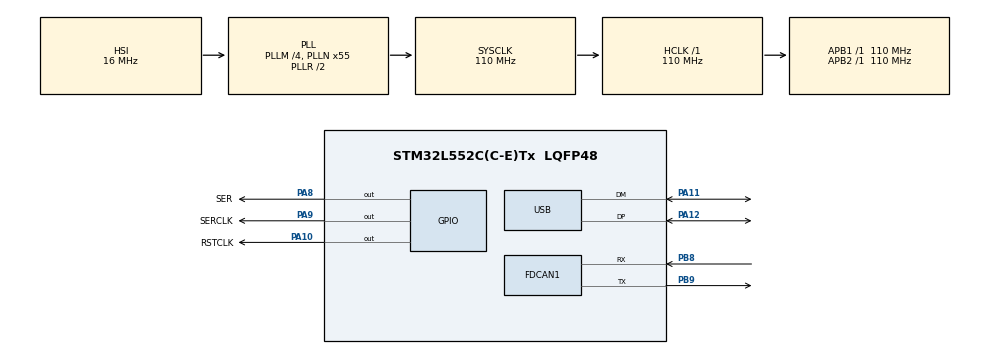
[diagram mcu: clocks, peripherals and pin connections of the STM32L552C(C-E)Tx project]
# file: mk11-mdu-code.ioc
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FDCAN1.AutoRetransmission=ENABLE
FDCAN1.CalculateBaudRateNominal=999999
FDCAN1.CalculateTimeBitNominal=1000
FDCAN1.CalculateTimeQuantumNominal=45.45454545454546
FDCAN1.DataPrescaler=2
FDCAN1.DataSyncJumpWidth=2
FDCAN1.DataTimeSeg1=8
FDCAN1.DataTimeSeg2=2
FDCAN1.FrameFormat=FDCAN_FRAME_FD_BRS
FDCAN1.Mode=FDCAN_MODE_NORMAL
FDCAN1.NominalPrescaler=5
FDCAN1.NominalSyncJumpWidth=4
FDCAN1.NominalTimeSeg1=17
FDCAN1.NominalTimeSeg2=4
FDCAN1.StdFiltersNbr=1
Mcu.Family=STM32L5
Mcu.Name=STM32L552C(C-E)Tx
Mcu.Package=LQFP48
NVIC.FDCAN1_IT0_IRQn=true\:0\:0\:false\:false\:true\:true\:true\:true
NVIC.FDCAN1_IT1_IRQn=true\:0\:0\:false\:false\:true\:true\:true\:true
NVIC.PriorityGroup=NVIC_PRIORITYGROUP_3
NVIC.USB_FS_IRQn=true\:0\:0\:false\:false\:true\:false\:true\:true
PA10.GPIO_Label=RSTCLK
PA10.Signal=GPIO_Output
PA11.Mode=Device
PA11.Signal=USB_DM
PA12.Mode=Device
PA12.Signal=USB_DP
PA8.GPIO_Label=SER
PA8.Signal=GPIO_Output
PA9.GPIO_Label=SERCLK
PA9.Signal=GPIO_Output
PB8.Mode=FDCAN_Activate
PB8.Signal=FDCAN1_RX
PB9.Mode=FDCAN_Activate
PB9.Signal=FDCAN1_TX
PC14-OSC32_IN\ (PC14).Mode=LSE-External-Oscillator
PC14-OSC32_IN\ (PC14).Signal=RCC_OSC32_IN
PC15-OSC32_OUT\ (PC15).Mode=LSE-External-Oscillator
PC15-OSC32_OUT\ (PC15).Signal=RCC_OSC32_OUT
PH0-OSC_IN\ (PH0).Mode=HSE-External-Oscillator
PH0-OSC_IN\ (PH0).Signal=RCC_OSC_IN
PH1-OSC_OUT\ (PH1).Mode=HSE-External-Oscillator
PH1-OSC_OUT\ (PH1).Signal=RCC_OSC_OUT
ProjectManager.HeapSize=0x200
ProjectManager.StackSize=0x400
ProjectManager.TargetToolchain=STM32CubeIDE
RCC.ADCFreq_Value=48000000
RCC.AHBFreq_Value=110000000
RCC.APB1Freq_Value=110000000
RCC.APB1TimFreq_Value=110000000
RCC.APB2Freq_Value=110000000
RCC.APB2TimFreq_Value=110000000
RCC.CortexFreq_Value=110000000
RCC.HCLKFreq_Value=110000000
RCC.HSE_VALUE=16000000
RCC.HSI48_VALUE=48000000
RCC.HSI_VALUE=16000000
RCC.MSI_VALUE=4000000
RCC.PLLM=4
RCC.PLLN=55
RCC.PLLSAI1N=24
RCC.PLLSourceVirtual=RCC_PLLSOURCE_HSI
RCC.SYSCLKFreq_VALUE=110000000
RCC.SYSCLKSource=RCC_SYSCLKSOURCE_PLLCLK
RCC.USBFreq_Value=48000000
RCC.VCOOutputFreq_Value=220000000
USB_DEVICE.CLASS_NAME_FS=CDC
USB_DEVICE.VirtualMode=Cdc
USB_DEVICE.VirtualModeFS=Cdc_FS
VP_ICACHE_VS_ICACHE.Mode=DefaultMode
VP_PWR_VS_DBSignals.Mode=DisableDeadBatterySignals
VP_PWR_VS_SECSignals.Mode=Security/Privilege
VP_USB_DEVICE_VS_USB_DEVICE_CDC_FS.Mode=CDC_FS
board=custom
PB8.GPIO_Speed=GPIO_SPEED_FREQ_VERY_HIGH
PB9.GPIO_Speed=GPIO_SPEED_FREQ_VERY_HIGH

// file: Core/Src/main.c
/* USER CODE BEGIN Header */
/**
 ******************************************************************************
 * @file           : main.c
 * @brief          : Main program body
 ******************************************************************************
 * @attention
 *
 * Copyright (c) 2026 STMicroelectronics.
 * All rights reserved.
 *
 * This software is licensed under terms that can be found in the LICENSE file
 * in the root directory of this software component.
 * If no LICENSE file comes with this software, it is provided AS-IS.
 *
 ******************************************************************************
 */
/* USER CODE END Header */
#include "main.h"
#include "fdcan.h"
#include "icache.h"
#include "usb_device.h"
#include "gpio.h"

/* USER CODE BEGIN Includes */
#include "../../Drivers/BFR_Krill_Drivers/Inc/usb_driver.h"
#include "usbd_conf.h"
#include "usbd_cdc_if.h"
#include "can.h"
#include <stdio.h>
#include <string.h>
/* USER CODE END Includes */

/* USER CODE BEGIN PD */
#define FDCAN_SELF_TEST_MODE 0U

/* USER CODE END PD */

/* USER CODE BEGIN PV */
static FDCAN_TxHeaderTypeDef Tx_header;
uint8_t Tx[64];
uint8_t Rx[64];

/* Live-expression probes. USB probes live under usbdiag. */
volatile uint32_t fdcan_rx_msg_count = 0U;
volatile uint32_t fdcan_tx_msg_count = 0U;
volatile uint32_t fdcan_tx_err_count = 0U;
volatile uint32_t fdcan_rx_err_count = 0U;
volatile uint32_t fdcan_notif_err_count = 0U;
volatile uint32_t fdcan_rx_last_id     = 0U;
volatile uint8_t  fdcan_rx_last_len    = 0U;
volatile uint8_t  fdcan_rx_pending     = 0U;

/* TEST CODE ONLY: Variables for FDCAN limits and sequence gap drop tracking.
   (Not part of standard MDU operational functionality) */
volatile uint32_t fdcan_seq_skip_count    = 0U; // Total dropped/skipped frames detected
volatile uint8_t  fdcan_expected_seq      = 0U; // Expected next sequence counter byte
volatile uint8_t  fdcan_first_seq_seen    = 0U; // Flag to initialize the sequence check

extern USBD_HandleTypeDef hUsbDeviceFS;
//
// #define FDCAN_RX_QUEUE_SIZE 16
typedef struct
{
  FDCAN_RxHeaderTypeDef header;
  uint8_t data[64];
} FDCAN_RxFrame_t;

static FDCAN_RxFrame_t fdcan_rx_queue[FDCAN_RX_QUEUE_SIZE];
static volatile uint8_t fdcan_rx_head = 0;
static volatile uint8_t fdcan_rx_tail = 0;

#define USB_TX_RING_SIZE 4096
static uint8_t usb_tx_ring[USB_TX_RING_SIZE];
static volatile uint16_t usb_tx_head = 0;
static volatile uint16_t usb_tx_tail = 0;
/* USER CODE END PV */

void SystemClock_Config(void);

/* USER CODE BEGIN 0 */
static uint8_t FDCAN_DlcToBytes(uint32_t dlc)
{
  switch (dlc)
  {
  case FDCAN_DLC_BYTES_0:
    return 0U;
  case FDCAN_DLC_BYTES_1:
    return 1U;
  case FDCAN_DLC_BYTES_2:
    return 2U;
  case FDCAN_DLC_BYTES_3:
    return 3U;
  case FDCAN_DLC_BYTES_4:
    return 4U;
  case FDCAN_DLC_BYTES_5:
    return 5U;
  case FDCAN_DLC_BYTES_6:
    return 6U;
  case FDCAN_DLC_BYTES_7:
    return 7U;
  case FDCAN_DLC_BYTES_8:
    return 8U;
  case FDCAN_DLC_BYTES_12:
    return 12U;
  case FDCAN_DLC_BYTES_16:
    return 16U;
  case FDCAN_DLC_BYTES_20:
    return 20U;
  case FDCAN_DLC_BYTES_24:
    return 24U;
  case FDCAN_DLC_BYTES_32:
    return 32U;
  case FDCAN_DLC_BYTES_48:
    return 48U;
  case FDCAN_DLC_BYTES_64:
    return 64U;
  default:
    return 0U;
  }
}

static void usb_ring_push(const char *str, uint16_t len)
{
  uint16_t head = usb_tx_head;
  uint16_t tail = usb_tx_tail;

  // Calculate free space in ring buffer
  uint16_t free_space;
  if (head <= tail)
  {
    free_space = USB_TX_RING_SIZE - 1 - (tail - head);
  }
  else
  {
    free_space = head - tail - 1;
  }

  if (len > free_space)
  {
    usbdiag.tx_drop_count++;
    return;
  }

  for (uint16_t i = 0; i < len; i++)
  {
    usb_tx_ring[tail] = (uint8_t)str[i];
    tail = (tail + 1) % USB_TX_RING_SIZE;
  }

  usb_tx_tail = tail;
}

/* report shift-register pin test result once over USB CDC when configured */
volatile uint8_t sr_test_reported = 0;

/* 74HC595 shift-register driver (MSB-first) and simple LED API */
#define BAUD_UNKNOWN 0U
#define BAUD_500K 1U
#define BAUD_5M 2U
#define BAUD_1M 3U

volatile uint8_t g_detected_baud = BAUD_UNKNOWN;
/* Result bits: bit0=SER, bit1=SERCLK, bit2=RSTCLK (set if high when written) */
volatile uint8_t sr_pin_test_result = 0;

static void ShiftRegister_WriteByte(uint8_t data)
{
  for (int8_t i = 7; i >= 0; --i)
  {
    HAL_GPIO_WritePin(SER_GPIO_Port, SER_Pin, (data & (1U << i)) ? GPIO_PIN_SET : GPIO_PIN_RESET);
    HAL_GPIO_WritePin(SERCLK_GPIO_Port, SERCLK_Pin, GPIO_PIN_SET);
    __NOP();
    __NOP();
    HAL_GPIO_WritePin(SERCLK_GPIO_Port, SERCLK_Pin, GPIO_PIN_RESET);
  }

  /* Latch (RCLK) */
  HAL_GPIO_WritePin(RSTCLK_GPIO_Port, RSTCLK_Pin, GPIO_PIN_SET);
  __NOP();
  HAL_GPIO_WritePin(RSTCLK_GPIO_Port, RSTCLK_Pin, GPIO_PIN_RESET);
}

static void Update_BaudStatus_LEDs(uint8_t detected)
{
  uint8_t mask = 0x03U; /* default: both on = unknown */
  if (detected == BAUD_500K)
    mask = 0x01U;
  else if (detected == BAUD_1M)
    mask = 0x01U; /* same single-LED pattern as 500k */
  else if (detected == BAUD_5M)
    mask = 0x02U;
  ShiftRegister_WriteByte(mask);
}

/* Start directly in Normal mode without autodetect loop
 * Returns 0 on successful start, -1 on failure.
 */
static int FDCAN_AutodetectAndStart(void)
{
  /* Bypass autodetect: Start immediately in Normal mode with default configuration */
  if (FDCAN_ApplyInitAndStart(&hfdcan1.Init, FDCAN_MODE_NORMAL) == HAL_OK)
  {
    g_detected_baud = BAUD_5M;
    Update_BaudStatus_LEDs(g_detected_baud);
    if (HAL_FDCAN_ActivateNotification(&hfdcan1, FDCAN_IT_RX_FIFO0_NEW_MESSAGE, 0) == HAL_OK)
    {
      return 0;
    }
  }

  g_detected_baud = BAUD_UNKNOWN;
  Update_BaudStatus_LEDs(g_detected_baud);
  return -1;
}

/* Quick pin self-test: write each pin high and read back input state. Sets
 * bits in `sr_pin_test_result` so user can inspect via debugger/usbdiag.
 */
static void ShiftRegister_PinSelfTest(void)
{
  sr_pin_test_result = 0;

  /* Test SER */
  HAL_GPIO_WritePin(SER_GPIO_Port, SER_Pin, GPIO_PIN_SET);
  HAL_Delay(1);
  if (HAL_GPIO_ReadPin(SER_GPIO_Port, SER_Pin) == GPIO_PIN_SET)
    sr_pin_test_result |= 0x01U;
  HAL_GPIO_WritePin(SER_GPIO_Port, SER_Pin, GPIO_PIN_RESET);

  /* Test SERCLK */
  HAL_GPIO_WritePin(SERCLK_GPIO_Port, SERCLK_Pin, GPIO_PIN_SET);
  HAL_Delay(1);
  if (HAL_GPIO_ReadPin(SERCLK_GPIO_Port, SERCLK_Pin) == GPIO_PIN_SET)
    sr_pin_test_result |= 0x02U;
  HAL_GPIO_WritePin(SERCLK_GPIO_Port, SERCLK_Pin, GPIO_PIN_RESET);

  /* Test RSTCLK */
  HAL_GPIO_WritePin(RSTCLK_GPIO_Port, RSTCLK_Pin, GPIO_PIN_SET);
  HAL_Delay(1);
  if (HAL_GPIO_ReadPin(RSTCLK_GPIO_Port, RSTCLK_Pin) == GPIO_PIN_SET)
    sr_pin_test_result |= 0x04U;
  HAL_GPIO_WritePin(RSTCLK_GPIO_Port, RSTCLK_Pin, GPIO_PIN_RESET);

  /* Try writing a visible pattern (0x03 = both LEDs on) */
  ShiftRegister_WriteByte(0x03U);
}

// static void CAN_Frame_To_USB(const FDCAN_RxHeaderTypeDef *hdr, const uint8_t *data)
//{
//   char buf[512];
//   int n = 0;
//
//   if (!USB_Driver_IsConfigured()) {
//     return;
//   }
//
//   uint8_t len = FDCAN_DlcToBytes(hdr->DataLength);
//   if (len > 64) {
//     len = 64;
//   }
//
//   uint32_t id = hdr->Identifier;
//   uint32_t base = id & 0xF00U;
//   uint32_t middle = id & 0x0F0U;
//   uint32_t board = id & 0x00FU;
//   const uint32_t MAX_BOARD_ID = 1U;
//
//   if ((base == 0x100U || base == 0x200U) && board <= MAX_BOARD_ID && len >= 64) {
//     if (middle == 0x00U) {
//       // Legacy format fallback parsing
//       uint16_t time_ms = data[0] | (data[1] << 8);
//       int16_t vals[15];
//       for (int i = 0; i < 15; i++) {
//         vals[i] = (int16_t)(data[2 + i*4] | (data[3 + i*4] << 8));
//       }
//
//       int line = (int)(board * 2U + (base == 0x200U ? 2U : 1U));
//
//       if (base == 0x100U) {
//         int16_t shock = vals[6];
//         n += snprintf(buf + n, sizeof(buf) - (size_t)n,
//                       "\033[%d;1H\033[K[B%lu ID %03lX Legacy Fast] dT:%ums | SG[mV]: %d, %d, %d, %d, %d, %d | Shock: %d.%02d mm\r\n",
//                       line, (unsigned long)board, (unsigned long)id, time_ms,
//                       vals[0], vals[1], vals[2], vals[3], vals[4], vals[5],
//                       shock / 100, (shock > 0 ? shock : -shock) % 100);
//       } else {
//         int16_t rpm = vals[0];
//         int16_t maxT = vals[1];
//         int16_t minT = vals[2];
//         int16_t ctrT = vals[3];
//         int16_t tAmb = vals[4];
//         int16_t brk  = vals[5];
//         int16_t bAmb = vals[6];
//         n += snprintf(buf + n, sizeof(buf) - (size_t)n,
//                       "\033[%d;1H\033[K[B%lu ID %03lX Legacy Slow] dT:%ums | RPM: %d | Tire[Max:%d.%d Min:%d.%d Ctr:%d.%d Amb:%d.%d] Brk:%d.%d Amb:%d.%d\r\n",
//                       line, (unsigned long)board, (unsigned long)id, time_ms, rpm,
//                       maxT/10, (maxT>0?maxT:-maxT)%10,
//                       minT/10, (minT>0?minT:-minT)%10,
//                       ctrT/10, (ctrT>0?ctrT:-ctrT)%10,
//                       tAmb/10, (tAmb>0?tAmb:-tAmb)%10,
//                       brk/10, (brk>0?brk:-brk)%10,
//                       bAmb/10, (bAmb>0?bAmb:-bAmb)%10);
//       }
//     } else {
//       // High-fidelity packed parsing
//       uint32_t base_time = data[0] | (data[1] << 8) | (data[2] << 16) | (data[3] << 24);
//       uint16_t err = data[4] | (data[5] << 8);
//
//       if (base == 0x100U && middle == 0x10U) {
//         // Strain Gauge Block
//         uint8_t ch1_upper = data[6];
//         uint8_t ch2_upper = data[7];
//         uint8_t ch1_ch2_lower = data[8];
//         uint8_t ch3_upper = data[9];
//         uint8_t ch4_upper = data[10];
//         uint8_t ch3_ch4_lower = data[11];
//         uint8_t ch5_upper = data[12];
//         uint8_t ch6_upper = data[13];
//         uint8_t ch5_ch6_lower = data[14];
//         int8_t jitter = (int8_t)data[15];
//
//         uint16_t vals[6];
//         vals[0] = (uint16_t)((ch1_upper << 4) | (ch1_ch2_lower >> 4));
//         vals[1] = (uint16_t)((ch2_upper << 4) | (ch1_ch2_lower & 0x0FU));
//         vals[2] = (uint16_t)((ch3_upper << 4) | (ch3_ch4_lower >> 4));
//         vals[3] = (uint16_t)((ch4_upper << 4) | (ch3_ch4_lower & 0x0FU));
//         vals[4] = (uint16_t)((ch5_upper << 4) | (ch5_ch6_lower >> 4));
//         vals[5] = (uint16_t)((ch6_upper << 4) | (ch5_ch6_lower & 0x0FU));
//
//         int sg_mv[6];
//         for (int i = 0; i < 6; i++) {
//           float v = ((float)vals[i] / 4095.0f) * 6.6f - 3.3f;
//           sg_mv[i] = (int)(v * 1000.0f);
//         }
//
//         int line = (int)(board * 5U + 1U);
//         n += snprintf(buf + n, sizeof(buf) - (size_t)n,
//                       "\033[%d;1H\033[K[B%lu SG ID %03lX] BaseUs:%lu | SG[mV]: %d, %d, %d, %d, %d, %d | Err:0x%04X | Jitter:%dus\r\n",
//                       line, (unsigned long)board, (unsigned long)id, (unsigned long)base_time,
//                       sg_mv[0], sg_mv[1], sg_mv[2], sg_mv[3], sg_mv[4], sg_mv[5],
//                       (unsigned)err, (int)jitter);
//
//       } else if (base == 0x100U && middle == 0x20U) {
//         // Shock Pot - FIXED: Reads samples[0] (bytes 6-8) instead of blank tail elements
//         uint16_t raw_val = data[6] | (data[7] << 8);
//         int8_t jitter = (int8_t)data[8];
//
//         int line = (int)(board * 5U + 2U);
//         n += snprintf(buf + n, sizeof(buf) - (size_t)n,
//                       "\033[%d;1H\033[K[B%lu Shock ID %03lX] BaseUs:%lu | Shock: %d.%02d mm | Err:0x%04X | Jitter:%dus\r\n",
//                       line, (unsigned long)board, (unsigned long)id, (unsigned long)base_time,
//                       raw_val / 100, raw_val % 100, (unsigned)err, (int)jitter * 4); // Multiplying by 4 to map back down from 4us/LSB format
//
//       } else if (base == 0x200U && middle == 0x10U) {
//         // Wheel Speed - FIXED: Reads samples[0] (bytes 6-8)
//         uint16_t raw_val = data[6] | (data[7] << 8);
//         int8_t jitter = (int8_t)data[8];
//
//         int line = (int)(board * 5U + 3U);
//         n += snprintf(buf + n, sizeof(buf) - (size_t)n,
//                       "\033[%d;1H\033[K[B%lu Wheel ID %03lX] BaseUs:%lu | RPM: %d.%d | Err:0x%04X | Jitter:%dus\r\n",
//                       line, (unsigned long)board, (unsigned long)id, (unsigned long)base_time,
//                       raw_val / 10, raw_val % 10, (unsigned)err, (int)jitter * 4);
//
//       } else if (base == 0x200U && middle == 0x20U) {
//         // Brake Temp - FIXED: Reads samples[0] (bytes 6-8)
//         uint16_t raw_val = data[6] | (data[7] << 8);
//         int8_t jitter = (int8_t)data[8];
//
//         int line = (int)(board * 5U + 4U);
//         n += snprintf(buf + n, sizeof(buf) - (size_t)n,
//                       "\033[%d;1H\033[K[B%lu Brake ID %03lX] BaseUs:%lu | Brake Temp: %d.%d C | Err:0x%04X | Jitter:%dus\r\n",
//                       line, (unsigned long)board, (unsigned long)id, (unsigned long)base_time,
//                       raw_val / 10, raw_val % 10, (unsigned)err, (int)jitter * 4);
//
//       } else if (base == 0x200U && middle == 0x30U) {
//         // Tire Temp Block - Grabs first accumulated history block metrics
//         uint8_t max_t = data[6];
//         uint8_t min_t = data[7];
//         int8_t jitter_ms = (int8_t)data[10];
//
//         int line = (int)(board * 5U + 5U);
//         n += snprintf(buf + n, sizeof(buf) - (size_t)n,
//                       "\033[%d;1H\033[K[B%lu Tire ID %03lX] BaseUs:%lu | Tire Max: %u C, Min: %u C | Err:0x%04X | Jitter:%dms\r\n",
//                       line, (unsigned long)board, (unsigned long)id, (unsigned long)base_time,
//                       max_t, min_t, (unsigned)err, (int)jitter_ms);
//       }
//     }
//   } else {
//     // Fallback standard SLCAN logging format
//     if (hdr->IdType == FDCAN_STANDARD_ID) {
//       n += snprintf(buf + n, sizeof(buf) - (size_t)n, "t%03lX%u", (unsigned long)hdr->Identifier, (unsigned)len);
//     } else {
//       n += snprintf(buf + n, sizeof(buf) - (size_t)n, "T%08lX%u", (unsigned long)hdr->Identifier, (unsigned)len);
//     }
//     for (uint8_t i = 0U; i < len; i++) {
//       n += snprintf(buf + n, sizeof(buf) - (size_t)n, "%02X", data[i]);
//     }
//     if (n < (int)sizeof(buf) - 2) {
//       buf[n++] = '\r';
//       buf[n++] = '\n';
//     }
//   }
//
//   if (n > (int)sizeof(buf)) n = (int)sizeof(buf);
//   usb_ring_push(buf, (uint16_t)n);
// }
/* USER CODE END 0 */

int main(void)
{

  /* MCU Configuration--------------------------------------------------------*/

  /* Reset of all peripherals, Initializes the Flash interface and the Systick. */
  HAL_Init();

  /* Configure the system clock */
  SystemClock_Config();

  /* Initialize all configured peripherals */
  MX_GPIO_Init();
  /* Run shift-register pin self-test immediately after GPIO init */
  ShiftRegister_PinSelfTest();
  MX_FDCAN1_Init();
  MX_ICACHE_Init();
  MX_USB_Device_Init();
  /* USER CODE BEGIN 2 */
  Tx_header.Identifier = 0x77;
  Tx_header.IdType = FDCAN_STANDARD_ID;
  Tx_header.TxFrameType = FDCAN_DATA_FRAME;
  Tx_header.DataLength = FDCAN_DLC_BYTES_12;
  Tx_header.ErrorStateIndicator = FDCAN_ESI_ACTIVE;
  Tx_header.BitRateSwitch = FDCAN_BRS_ON;
  Tx_header.FDFormat = FDCAN_FD_CAN;
  Tx_header.TxEventFifoControl = FDCAN_NO_TX_EVENTS;
  Tx_header.MessageMarker = 0;

  /* Autodetect bus settings (listen-only) and start FDCAN */
  if (FDCAN_AutodetectAndStart() != 0)
  {
    /* Fallback: ensure notifications are enabled on the current config */
    if (HAL_FDCAN_ActivateNotification(&hfdcan1, FDCAN_IT_RX_FIFO0_NEW_MESSAGE, 0) != HAL_OK)
    {
      Error_Handler();
    }
  }
  /* USER CODE END 2 */

  /* USER CODE BEGIN WHILE */
  while (1)
  {
#if FDCAN_SELF_TEST_MODE
    for (int i = 0; i < 12; i++)
    {
      Tx[i]++;
    }
    if (HAL_FDCAN_AddMessageToTxFifoQ(&hfdcan1, &Tx_header, Tx) != HAL_OK)
    {
      fdcan_tx_err_count++;
    }
    else
    {
      fdcan_tx_msg_count++;
    }
#endif

    if (USB_Driver_IsConfigured())
    {
      usbdiag.configured_seen_count++;
      if (!sr_test_reported)
      {
        char buf[32];
        int n = snprintf(buf, sizeof(buf), "SR_TEST: 0x%02X\r\n", (unsigned)sr_pin_test_result);
        if (n > 0)
        {
          (void)CDC_Transmit_FS((uint8_t *)buf, (uint16_t)n);
        }
        sr_test_reported = 1;
      }
    }

    // Call the SLCAN converter directly
    CAN_To_USB_Process();
    USB_To_CAN_Process();

    // Automatic CAN Bus-Off Recovery with a 500ms debounce timer
    static uint32_t last_recovery_tick = 0;
    if (hfdcan1.Instance != NULL)
    {
      uint32_t psr = hfdcan1.Instance->PSR;
      if (psr & FDCAN_PSR_BO)
      {
        uint32_t now = HAL_GetTick();
        if (now - last_recovery_tick > 500)
        {
          last_recovery_tick = now;
          HAL_FDCAN_Stop(&hfdcan1);
          HAL_FDCAN_Start(&hfdcan1);
          HAL_FDCAN_ActivateNotification(&hfdcan1, FDCAN_IT_RX_FIFO0_NEW_MESSAGE, 0);
        }
      }
    }

    /* USER CODE END WHILE */

  }
}

void SystemClock_Config(void)
{
  RCC_OscInitTypeDef RCC_OscInitStruct = {0};
  RCC_ClkInitTypeDef RCC_ClkInitStruct = {0};

  /** Configure the main internal regulator output voltage
   */
  if (HAL_PWREx_ControlVoltageScaling(PWR_REGULATOR_VOLTAGE_SCALE0) != HAL_OK)
  {
    Error_Handler();
  }

  /** Configure LSE Drive Capability
   */
  HAL_PWR_EnableBkUpAccess();
  __HAL_RCC_LSEDRIVE_CONFIG(RCC_LSEDRIVE_LOW);

  /** Initializes the RCC Oscillators according to the specified parameters
   * in the RCC_OscInitTypeDef structure.
   */
  RCC_OscInitStruct.OscillatorType = RCC_OSCILLATORTYPE_HSI | RCC_OSCILLATORTYPE_LSE | RCC_OSCILLATORTYPE_MSI;
  RCC_OscInitStruct.LSEState = RCC_LSE_ON;
  RCC_OscInitStruct.HSIState = RCC_HSI_ON;
  RCC_OscInitStruct.HSICalibrationValue = RCC_HSICALIBRATION_DEFAULT;
  RCC_OscInitStruct.MSIState = RCC_MSI_ON;
  RCC_OscInitStruct.MSICalibrationValue = RCC_MSICALIBRATION_DEFAULT;
  RCC_OscInitStruct.MSIClockRange = RCC_MSIRANGE_6;
  RCC_OscInitStruct.PLL.PLLState = RCC_PLL_ON;
  RCC_OscInitStruct.PLL.PLLSource = RCC_PLLSOURCE_HSI;
  RCC_OscInitStruct.PLL.PLLM = 4;
  RCC_OscInitStruct.PLL.PLLN = 55;
  RCC_OscInitStruct.PLL.PLLP = RCC_PLLP_DIV7;
  RCC_OscInitStruct.PLL.PLLQ = RCC_PLLQ_DIV2;
  RCC_OscInitStruct.PLL.PLLR = RCC_PLLR_DIV2;
  if (HAL_RCC_OscConfig(&RCC_OscInitStruct) != HAL_OK)
  {
    Error_Handler();
  }

  /** Initializes the CPU, AHB and APB buses clocks
   */
  RCC_ClkInitStruct.ClockType = RCC_CLOCKTYPE_HCLK | RCC_CLOCKTYPE_SYSCLK | RCC_CLOCKTYPE_PCLK1 | RCC_CLOCKTYPE_PCLK2;
  RCC_ClkInitStruct.SYSCLKSource = RCC_SYSCLKSOURCE_PLLCLK;
  RCC_ClkInitStruct.AHBCLKDivider = RCC_SYSCLK_DIV1;
  RCC_ClkInitStruct.APB1CLKDivider = RCC_HCLK_DIV1;
  RCC_ClkInitStruct.APB2CLKDivider = RCC_HCLK_DIV1;

  if (HAL_RCC_ClockConfig(&RCC_ClkInitStruct, FLASH_LATENCY_5) != HAL_OK)
  {
    Error_Handler();
  }

  /** Enable MSI Auto calibration
   */
  HAL_RCCEx_EnableMSIPLLMode();
}

/* USER CODE BEGIN 4 */

// Wrapper implementations allowing can.c to safely reference the ring buffer memory
// Updated to use your exact codebase names (without s_ prefix)
uint8_t MDU_Get_Rx_Queue_State(uint8_t *head_out, uint8_t *tail_out)
{
  *head_out = fdcan_rx_head;
  *tail_out = fdcan_rx_tail;
  return (fdcan_rx_head != fdcan_rx_tail);
}

void MDU_Get_Rx_Queue_Data(uint8_t index, FDCAN_RxHeaderTypeDef *hdr_out, uint8_t *data_out)
{
  *hdr_out = fdcan_rx_queue[index].header;
  memcpy(data_out, fdcan_rx_queue[index].data, 64);
}

void MDU_Get_Rx_Queue_Frame(uint8_t index, FDCAN_RxHeaderTypeDef **hdr_out, uint8_t **data_out)
{
  *hdr_out = &fdcan_rx_queue[index].header;
  *data_out = fdcan_rx_queue[index].data;
}

void MDU_Advance_Rx_Queue_Head(void)
{
  __disable_irq();
  fdcan_rx_head = (fdcan_rx_head + 1) % FDCAN_RX_QUEUE_SIZE;
  __enable_irq();
}

void HAL_FDCAN_RxFifo0Callback(FDCAN_HandleTypeDef *hfdcan, uint32_t RxFifo0ITs)
{
  if ((RxFifo0ITs & FDCAN_IT_RX_FIFO0_NEW_MESSAGE) != RESET)
  {
    FDCAN_RxHeaderTypeDef temp_hdr;
    uint8_t temp_data[64];

    // Safely pull messages from the hardware registers into intermediate structures
    while (HAL_FDCAN_GetRxMessage(hfdcan, FDCAN_RX_FIFO0, &temp_hdr, temp_data) == HAL_OK)
    {
      fdcan_rx_msg_count++;
      fdcan_rx_last_id = temp_hdr.Identifier;
      fdcan_rx_last_len = FDCAN_DlcToBytes(temp_hdr.DataLength);

      /* TEST CODE ONLY: Sequence Skip Detection (Not for standard MDU functionality) */
      if (temp_hdr.Identifier == 0x111 && temp_hdr.DataLength == FDCAN_DLC_BYTES_64)
      {
        uint8_t rx_seq = temp_data[0];
        if (fdcan_first_seq_seen)
        {
          if (rx_seq != fdcan_expected_seq)
          {
            int32_t diff = (int32_t)rx_seq - (int32_t)fdcan_expected_seq;
            if (diff < 0) diff += 256;
            fdcan_seq_skip_count += (uint32_t)diff;
          }
        }
        else
        {
          fdcan_first_seq_seen = 1;
        }
        fdcan_expected_seq = (uint8_t)(rx_seq + 1U);
      }
      /* END OF TEST CODE */

      // Thread-safe Ring advancement write strategy
      uint8_t current_tail = fdcan_rx_tail;
      uint8_t next_tail = (current_tail + 1) % FDCAN_RX_QUEUE_SIZE;

      // If the queue isn't full, push raw hardware frames into software buffer memory
      if (next_tail != fdcan_rx_head)
      {
        fdcan_rx_queue[current_tail].header = temp_hdr;
        memcpy(fdcan_rx_queue[current_tail].data, temp_data, 64);
        fdcan_rx_tail = next_tail;
      }
      else
      {
        fdcan_rx_err_count++; // Track soft-drop overruns
      }
    }

    // Reactivate the interrupt configuration flag mapping
    if (HAL_FDCAN_ActivateNotification(hfdcan, FDCAN_IT_RX_FIFO0_NEW_MESSAGE, 0) != HAL_OK)
    {
      fdcan_notif_err_count++;
    }
  }
}
/* USER CODE END 4 */

void Error_Handler(void)
{
  __disable_irq();
  while (1)
  {
  }
}
#ifdef USE_FULL_ASSERT
/**
 * @brief  Reports the name of the source file and the source line number
 *         where the assert_param error has occurred.
 * @param  file: pointer to the source file name
 * @param  line: assert_param error line source number
 * @retval None
 */
void assert_failed(uint8_t *file, uint32_t line)
{
  /* USER CODE BEGIN 6 */
  /* User can add his own implementation to report the file name and line
     number, ex: printf("Wrong parameters value: file %s on line %d\r\n", file,
     line) */
  /* USER CODE END 6 */
}
#endif /* USE_FULL_ASSERT */
